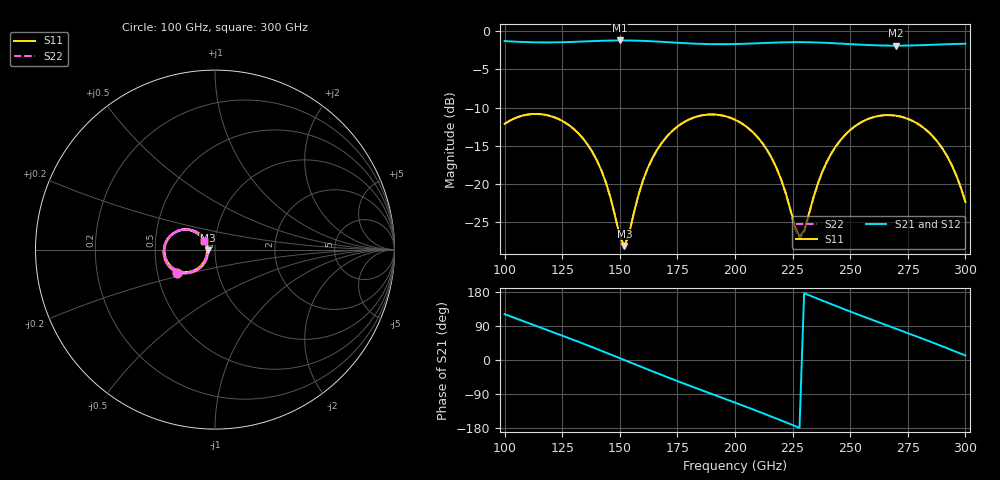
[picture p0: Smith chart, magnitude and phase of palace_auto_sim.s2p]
#  GHZ S DB R 50
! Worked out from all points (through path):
!   101 points, 100 GHz to 300 GHz, reference 50 ohm
!   highest |S21| = -1.20 dB at 150 GHz (marker M1); lowest = -1.9 dB at 270 GHz (marker M2)
!   group delay of S21, straight-line fit = 6.53 ps
!   lowest |S11| = -28.2 dB at 152 GHz (marker M3), VSWR 1.08, Z = 46.3 - j0.326 ohm
!   |S11| at or under -10 dB: start of sweep to end of sweep
!   |S22| runs from -28.2 to -10.8 dB; largest |S21 - S12| = 9.9e-14
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100  -12.14 -148.5  -1.27 121.1  -1.27 121.1  -12.14 -148.5
116  -10.88 179.4  -1.45 84.7  -1.45 84.7  -10.88 179.4
126  -11.93 159.7  -1.42 62.0  -1.42 62.0  -11.93 159.7
134  -14.06 145.0  -1.33 43.4  -1.33 43.4  -14.06 144.9
142  -18.25 134.4  -1.24 24.3  -1.24 24.3  -18.26 134.3
150  -26.91 157.2  -1.20 4.8  -1.20 4.8  -26.94 157.2
152  -28.18 -174.8  -1.20 -0.1  -1.20 -0.1  -28.21 -174.8
160  -19.64 -127.5  -1.25 -19.7  -1.25 -19.7  -19.65 -127.4
168  -14.73 -135.8  -1.37 -39.0  -1.37 -39.0  -14.73 -135.8
184  -11.14 -165.4  -1.63 -76.2  -1.63 -76.2  -11.14 -165.5
200  -11.60 163.8  -1.66 -112.4  -1.66 -112.4  -11.61 163.6
216  -16.67 137.7  -1.49 -149.8  -1.49 -149.8  -16.69 137.3
228  -26.92 178.2  -1.42 -178.9  -1.42 -178.9  -27.23 178.2
234  -21.84 -134.3  -1.45 166.3  -1.45 166.3  -21.93 -133.2
240  -17.04 -132.6  -1.51 151.7  -1.51 151.7  -17.06 -131.8
248  -13.52 -143.7  -1.64 132.6  -1.64 132.6  -13.53 -143.1
258  -11.48 -161.7  -1.80 109.4  -1.80 109.4  -11.48 -161.3
268  -11.01 179.4  -1.87 86.7  -1.87 86.7  -11.01 179.8
270  -11.08 175.6  -1.88 82.2  -1.88 82.2  -11.08 176.1
288  -14.54 144.0  -1.73 40.8  -1.73 40.8  -14.53 144.6
294  -17.52 137.5  -1.67 26.5  -1.67 26.5  -17.50 138.2
300  -22.41 142.9  -1.63 11.9  -1.63 11.9  -22.33 143.8
